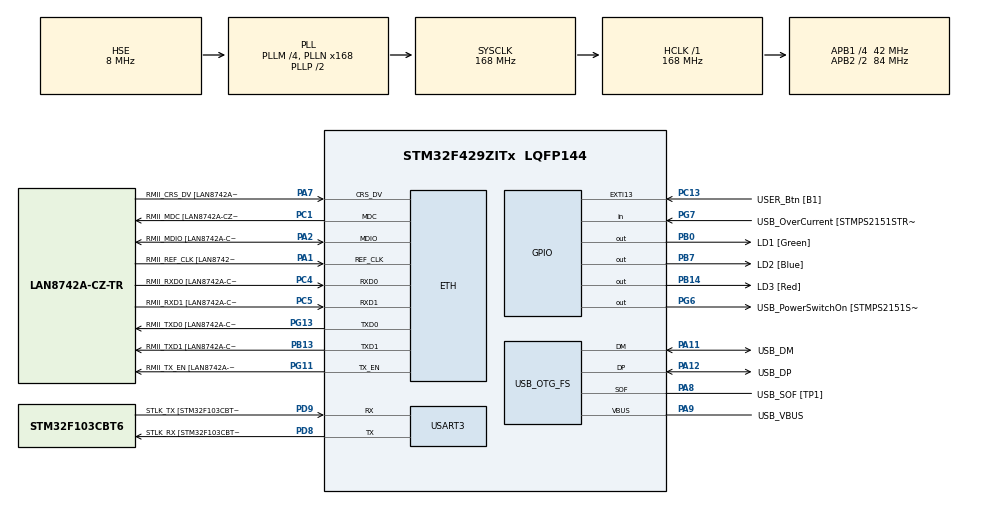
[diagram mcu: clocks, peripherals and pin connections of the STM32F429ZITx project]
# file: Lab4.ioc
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ETH.MediaInterface=HAL_ETH_RMII_MODE
ETH.PHY_Name=LAN8742A_PHY_ADDRESS
ETH.PHY_Value=0
ETH.PhyAddress=0
Mcu.Family=STM32F4
Mcu.Name=STM32F429ZITx
Mcu.Package=LQFP144
NVIC.EXTI15_10_IRQn=true\:0\:0\:false\:false\:true\:true\:true\:true
NVIC.PriorityGroup=NVIC_PRIORITYGROUP_4
NVIC.USART3_IRQn=true\:0\:0\:false\:false\:true\:true\:true\:true
PA1.GPIO_Label=RMII_REF_CLK [LAN8742A-CZ-TR_REFCLK0]
PA1.Mode=RMII
PA1.Signal=ETH_REF_CLK
PA10.GPIO_Label=USB_ID
PA10.Signal=USB_OTG_FS_ID
PA11.GPIO_Label=USB_DM
PA11.Mode=Device_Only
PA11.Signal=USB_OTG_FS_DM
PA12.GPIO_Label=USB_DP
PA12.Mode=Device_Only
PA12.Signal=USB_OTG_FS_DP
PA13.GPIO_Label=TMS
PA13.Mode=Serial_Wire
PA13.Signal=SYS_JTMS-SWDIO
PA14.GPIO_Label=TCK
PA14.Mode=Serial_Wire
PA14.Signal=SYS_JTCK-SWCLK
PA2.GPIO_Label=RMII_MDIO [LAN8742A-CZ-TR_MDIO]
PA2.Mode=RMII
PA2.Signal=ETH_MDIO
PA7.GPIO_Label=RMII_CRS_DV [LAN8742A-CZ-TR_CRS_DV]
PA7.Mode=RMII
PA7.Signal=ETH_CRS_DV
PA8.GPIO_Label=USB_SOF [TP1]
PA8.Mode=Activate_SOF_FS
PA8.Signal=USB_OTG_FS_SOF
PA9.GPIO_Label=USB_VBUS
PA9.Mode=Activate_VBUS
PA9.Signal=USB_OTG_FS_VBUS
PB0.GPIO_Label=LD1 [Green]
PB0.Signal=GPIO_Output
PB13.GPIO_Label=RMII_TXD1 [LAN8742A-CZ-TR_TXD1]
PB13.Mode=RMII
PB13.Signal=ETH_TXD1
PB14.GPIO_Label=LD3 [Red]
PB14.Signal=GPIO_Output
PB7.GPIO_Label=LD2 [Blue]
PB7.Signal=GPIO_Output
PC1.GPIO_Label=RMII_MDC [LAN8742A-CZ-TR_MDC]
PC1.Mode=RMII
PC1.Signal=ETH_MDC
PC13.GPIO_Label=USER_Btn [B1]
PC13.Signal=GPXTI13
PC14/OSC32_IN.Mode=LSE-External-Oscillator
PC14/OSC32_IN.Signal=RCC_OSC32_IN
PC15/OSC32_OUT.Mode=LSE-External-Oscillator
PC15/OSC32_OUT.Signal=RCC_OSC32_OUT
PC4.GPIO_Label=RMII_RXD0 [LAN8742A-CZ-TR_RXD0]
PC4.Mode=RMII
PC4.Signal=ETH_RXD0
PC5.GPIO_Label=RMII_RXD1 [LAN8742A-CZ-TR_RXD1]
PC5.Mode=RMII
PC5.Signal=ETH_RXD1
PD8.GPIO_Label=STLK_RX [STM32F103CBT6_PA3]
PD8.Mode=Asynchronous
PD8.Signal=USART3_TX
PD9.GPIO_Label=STLK_TX [STM32F103CBT6_PA2]
PD9.Mode=Asynchronous
PD9.Signal=USART3_RX
PG11.GPIO_Label=RMII_TX_EN [LAN8742A-CZ-TR_TXEN]
PG11.Mode=RMII
PG11.Signal=ETH_TX_EN
PG13.GPIO_Label=RMII_TXD0 [LAN8742A-CZ-TR_TXD0]
PG13.Mode=RMII
PG13.Signal=ETH_TXD0
PG6.GPIO_Label=USB_PowerSwitchOn [STMPS2151STR_EN]
PG6.Signal=GPIO_Output
PG7.GPIO_Label=USB_OverCurrent [STMPS2151STR_FAULT]
PG7.Signal=GPIO_Input
PH0/OSC_IN.GPIO_Label=MCO [STM32F103CBT6_PA8]
PH0/OSC_IN.Mode=HSE-External-Clock-Source
PH0/OSC_IN.Signal=RCC_OSC_IN
PH1/OSC_OUT.Mode=HSE-External-Clock-Source
PH1/OSC_OUT.Signal=RCC_OSC_OUT
ProjectManager.HeapSize=0x200
ProjectManager.StackSize=0x400
ProjectManager.TargetToolchain=STM32CubeIDE
RCC.48MHZClocksFreq_Value=48000000
RCC.AHBFreq_Value=168000000
RCC.APB1CLKDivider=RCC_HCLK_DIV4
RCC.APB1Freq_Value=42000000
RCC.APB1TimFreq_Value=84000000
RCC.APB2CLKDivider=RCC_HCLK_DIV2
RCC.APB2Freq_Value=84000000
RCC.APB2TimCLKDivider=2
RCC.APB2TimFreq_Value=168000000
RCC.CortexFreq_Value=168000000
RCC.HCLKFreq_Value=168000000
RCC.HSE_VALUE=8000000
RCC.HSI_VALUE=16000000
RCC.PLLM=4
RCC.PLLMUL=RCC_PLL_MUL9
RCC.PLLN=168
RCC.PLLQ=7
RCC.PRESCALERUSB=RCC_USBCLKSOURCE_PLL_DIV1_5
RCC.SYSCLKFreq_VALUE=168000000
RCC.SYSCLKSource=RCC_SYSCLKSOURCE_PLLCLK
RCC.SYSCLKSourceVirtual=RCC_SYSCLKSOURCE_PLLCLK
RCC.USBFreq_Value=48000000
RCC.VCOOutputFreq_Value=336000000
USART3.VirtualMode=VM_ASYNC
USB_OTG_FS.VirtualMode=Device_Only
board=NUCLEO-F429ZI

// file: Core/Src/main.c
/* USER CODE BEGIN Header */
/**
  ******************************************************************************
  * @file           : main.c
  * @brief          : Main program body
  ******************************************************************************
  * @attention
  *
  * Copyright (c) 2022 STMicroelectronics.
  * All rights reserved.
  *
  * This software is licensed under terms that can be found in the LICENSE file
  * in the root directory of this software component.
  * If no LICENSE file comes with this software, it is provided AS-IS.
  *
  ******************************************************************************
  */
/* USER CODE END Header */
#include "main.h"
#include "string.h"

/* USER CODE BEGIN PD */
#define R GPIO_PIN_14
#define G GPIO_PIN_0
#define B GPIO_PIN_7
/* USER CODE END PD */

ETH_TxPacketConfig TxConfig;
ETH_DMADescTypeDef  DMARxDscrTab[ETH_RX_DESC_CNT]; /* Ethernet Rx DMA Descriptors */
ETH_DMADescTypeDef  DMATxDscrTab[ETH_TX_DESC_CNT]; /* Ethernet Tx DMA Descriptors */

 ETH_HandleTypeDef heth;

UART_HandleTypeDef huart3;

PCD_HandleTypeDef hpcd_USB_OTG_FS;

/* USER CODE BEGIN PV */
int blinkOrder[5] = {G,R,B,B,B};
int blinkNow = 0;
uint8_t dir_mode = '0';
uint8_t mode = '0';
uint8_t freq_mode = '0';
uint16_t delay = 500;
uint8_t str[5];
uint8_t data_received = 0;
uint8_t data_transmitted = 1;
/* USER CODE END PV */

void SystemClock_Config(void);
static void MX_GPIO_Init(void);
static void MX_ETH_Init(void);
static void MX_USART3_UART_Init(void);
static void MX_USB_OTG_FS_PCD_Init(void);

int main(void)
{

  /* MCU Configuration--------------------------------------------------------*/

  /* Reset of all peripherals, Initializes the Flash interface and the Systick. */
  HAL_Init();

  /* Configure the system clock */
  SystemClock_Config();

  /* Initialize all configured peripherals */
  MX_GPIO_Init();
  MX_ETH_Init();
  MX_USART3_UART_Init();
  MX_USB_OTG_FS_PCD_Init();
  /* USER CODE BEGIN 2 */
HAL_UART_Receive_IT(&huart3,str,2);
  /* USER CODE END 2 */

  /* Infinite loop */
  /* USER CODE BEGIN WHILE */
  while (1)
  {
	  switch(mode){
	  	  case'0':{
	  		  HAL_GPIO_TogglePin(GPIOB, blinkOrder[blinkNow]);
	  		  if(HAL_GPIO_ReadPin(GPIOB, blinkOrder[blinkNow]) ==0 ){
	  			  if(dir_mode == '0'){
	  				blinkNow=(blinkNow+1)%5;
	  			  }else{
	  				blinkNow=(blinkNow-1+5)%5;
	  			  }
	  		  }
	  		  break;
	  	  }
	  	  case'1':{
	  		HAL_GPIO_WritePin(GPIOB,G,1);
	  		HAL_GPIO_WritePin(GPIOB,R,0);
	  		HAL_GPIO_WritePin(GPIOB,B,0);
	  		break;
	  	  }
	  }

	  switch(freq_mode){
	  	  case'0':
	  		  delay=1000;
	  		  break;
	  	  case'1':
	   		  delay=500;
	  		  break;
	  }
	  HAL_Delay(delay);
    /* USER CODE END WHILE */

  }
}

void SystemClock_Config(void)
{
  RCC_OscInitTypeDef RCC_OscInitStruct = {0};
  RCC_ClkInitTypeDef RCC_ClkInitStruct = {0};

  /** Configure the main internal regulator output voltage
  */
  __HAL_RCC_PWR_CLK_ENABLE();
  __HAL_PWR_VOLTAGESCALING_CONFIG(PWR_REGULATOR_VOLTAGE_SCALE1);

  /** Initializes the RCC Oscillators according to the specified parameters
  * in the RCC_OscInitTypeDef structure.
  */
  RCC_OscInitStruct.OscillatorType = RCC_OSCILLATORTYPE_HSE;
  RCC_OscInitStruct.HSEState = RCC_HSE_BYPASS;
  RCC_OscInitStruct.PLL.PLLState = RCC_PLL_ON;
  RCC_OscInitStruct.PLL.PLLSource = RCC_PLLSOURCE_HSE;
  RCC_OscInitStruct.PLL.PLLM = 4;
  RCC_OscInitStruct.PLL.PLLN = 168;
  RCC_OscInitStruct.PLL.PLLP = RCC_PLLP_DIV2;
  RCC_OscInitStruct.PLL.PLLQ = 7;
  if (HAL_RCC_OscConfig(&RCC_OscInitStruct) != HAL_OK)
  {
    Error_Handler();
  }

  /** Initializes the CPU, AHB and APB buses clocks
  */
  RCC_ClkInitStruct.ClockType = RCC_CLOCKTYPE_HCLK|RCC_CLOCKTYPE_SYSCLK
                              |RCC_CLOCKTYPE_PCLK1|RCC_CLOCKTYPE_PCLK2;
  RCC_ClkInitStruct.SYSCLKSource = RCC_SYSCLKSOURCE_PLLCLK;
  RCC_ClkInitStruct.AHBCLKDivider = RCC_SYSCLK_DIV1;
  RCC_ClkInitStruct.APB1CLKDivider = RCC_HCLK_DIV4;
  RCC_ClkInitStruct.APB2CLKDivider = RCC_HCLK_DIV2;

  if (HAL_RCC_ClockConfig(&RCC_ClkInitStruct, FLASH_LATENCY_5) != HAL_OK)
  {
    Error_Handler();
  }
}

static void MX_ETH_Init(void)
{

   static uint8_t MACAddr[6];

  heth.Instance = ETH;
  MACAddr[0] = 0x00;
  MACAddr[1] = 0x80;
  MACAddr[2] = 0xE1;
  MACAddr[3] = 0x00;
  MACAddr[4] = 0x00;
  MACAddr[5] = 0x00;
  heth.Init.MACAddr = &MACAddr[0];
  heth.Init.MediaInterface = HAL_ETH_RMII_MODE;
  heth.Init.TxDesc = DMATxDscrTab;
  heth.Init.RxDesc = DMARxDscrTab;
  heth.Init.RxBuffLen = 1524;

  if (HAL_ETH_Init(&heth) != HAL_OK)
  {
    Error_Handler();
  }

  memset(&TxConfig, 0 , sizeof(ETH_TxPacketConfig));
  TxConfig.Attributes = ETH_TX_PACKETS_FEATURES_CSUM | ETH_TX_PACKETS_FEATURES_CRCPAD;
  TxConfig.ChecksumCtrl = ETH_CHECKSUM_IPHDR_PAYLOAD_INSERT_PHDR_CALC;
  TxConfig.CRCPadCtrl = ETH_CRC_PAD_INSERT;

}

static void MX_USART3_UART_Init(void)
{

  huart3.Instance = USART3;
  huart3.Init.BaudRate = 115200;
  huart3.Init.WordLength = UART_WORDLENGTH_8B;
  huart3.Init.StopBits = UART_STOPBITS_1;
  huart3.Init.Parity = UART_PARITY_NONE;
  huart3.Init.Mode = UART_MODE_TX_RX;
  huart3.Init.HwFlowCtl = UART_HWCONTROL_NONE;
  huart3.Init.OverSampling = UART_OVERSAMPLING_16;
  if (HAL_UART_Init(&huart3) != HAL_OK)
  {
    Error_Handler();
  }

}

static void MX_USB_OTG_FS_PCD_Init(void)
{

  hpcd_USB_OTG_FS.Instance = USB_OTG_FS;
  hpcd_USB_OTG_FS.Init.dev_endpoints = 4;
  hpcd_USB_OTG_FS.Init.speed = PCD_SPEED_FULL;
  hpcd_USB_OTG_FS.Init.dma_enable = DISABLE;
  hpcd_USB_OTG_FS.Init.phy_itface = PCD_PHY_EMBEDDED;
  hpcd_USB_OTG_FS.Init.Sof_enable = ENABLE;
  hpcd_USB_OTG_FS.Init.low_power_enable = DISABLE;
  hpcd_USB_OTG_FS.Init.lpm_enable = DISABLE;
  hpcd_USB_OTG_FS.Init.vbus_sensing_enable = ENABLE;
  hpcd_USB_OTG_FS.Init.use_dedicated_ep1 = DISABLE;
  if (HAL_PCD_Init(&hpcd_USB_OTG_FS) != HAL_OK)
  {
    Error_Handler();
  }

}

static void MX_GPIO_Init(void)
{
  GPIO_InitTypeDef GPIO_InitStruct = {0};

  /* GPIO Ports Clock Enable */
  __HAL_RCC_GPIOC_CLK_ENABLE();
  __HAL_RCC_GPIOH_CLK_ENABLE();
  __HAL_RCC_GPIOA_CLK_ENABLE();
  __HAL_RCC_GPIOB_CLK_ENABLE();
  __HAL_RCC_GPIOD_CLK_ENABLE();
  __HAL_RCC_GPIOG_CLK_ENABLE();

  /*Configure GPIO pin Output Level */
  HAL_GPIO_WritePin(GPIOB, LD1_Pin|LD3_Pin|LD2_Pin, GPIO_PIN_RESET);

  /*Configure GPIO pin Output Level */
  HAL_GPIO_WritePin(USB_PowerSwitchOn_GPIO_Port, USB_PowerSwitchOn_Pin, GPIO_PIN_RESET);

  /*Configure GPIO pin : USER_Btn_Pin */
  GPIO_InitStruct.Pin = USER_Btn_Pin;
  GPIO_InitStruct.Mode = GPIO_MODE_IT_RISING;
  GPIO_InitStruct.Pull = GPIO_NOPULL;
  HAL_GPIO_Init(USER_Btn_GPIO_Port, &GPIO_InitStruct);

  /*Configure GPIO pins : LD1_Pin LD3_Pin LD2_Pin */
  GPIO_InitStruct.Pin = LD1_Pin|LD3_Pin|LD2_Pin;
  GPIO_InitStruct.Mode = GPIO_MODE_OUTPUT_PP;
  GPIO_InitStruct.Pull = GPIO_NOPULL;
  GPIO_InitStruct.Speed = GPIO_SPEED_FREQ_LOW;
  HAL_GPIO_Init(GPIOB, &GPIO_InitStruct);

  /*Configure GPIO pin : USB_PowerSwitchOn_Pin */
  GPIO_InitStruct.Pin = USB_PowerSwitchOn_Pin;
  GPIO_InitStruct.Mode = GPIO_MODE_OUTPUT_PP;
  GPIO_InitStruct.Pull = GPIO_NOPULL;
  GPIO_InitStruct.Speed = GPIO_SPEED_FREQ_LOW;
  HAL_GPIO_Init(USB_PowerSwitchOn_GPIO_Port, &GPIO_InitStruct);

  /*Configure GPIO pin : USB_OverCurrent_Pin */
  GPIO_InitStruct.Pin = USB_OverCurrent_Pin;
  GPIO_InitStruct.Mode = GPIO_MODE_INPUT;
  GPIO_InitStruct.Pull = GPIO_NOPULL;
  HAL_GPIO_Init(USB_OverCurrent_GPIO_Port, &GPIO_InitStruct);

  /* EXTI interrupt init*/
  HAL_NVIC_SetPriority(EXTI15_10_IRQn, 0, 0);
  HAL_NVIC_EnableIRQ(EXTI15_10_IRQn);

}

/* USER CODE BEGIN 4 */
void HAL_UART_RxCpltCallback(UART_HandleTypeDef *huart){
	if(huart ==& huart3){
		data_received = 1;
		if(data_transmitted != 0){
			HAL_UART_Transmit_IT(&huart3,str,2);
			data_received = 0;
			data_transmitted = 0;
		}
		if(str[0] == 'm'){
			HAL_GPIO_WritePin(GPIOB,G,0);
			HAL_GPIO_WritePin(GPIOB,R,0);
			HAL_GPIO_WritePin(GPIOB,B,0);
			mode = str[1];
		}
		else if(str[0] == 'f'){
			freq_mode = str[1];
		}
		else if(str[0] == 'd'){
			dir_mode = str[1];
		}
		HAL_UART_Receive_IT(&huart3,str,2);
	}
}

void HAL_UART_TxCpltCallback(UART_HandleTypeDef *huart){
	if(huart ==& huart3){
		data_transmitted = 1;
		if(data_received != 0){
			HAL_UART_Transmit_IT(&huart3,str,2);
			data_received = 0;
			data_transmitted = 0;
		}
	}
}
/* USER CODE END 4 */

void Error_Handler(void)
{
  __disable_irq();
  while (1)
  {
  }
}
